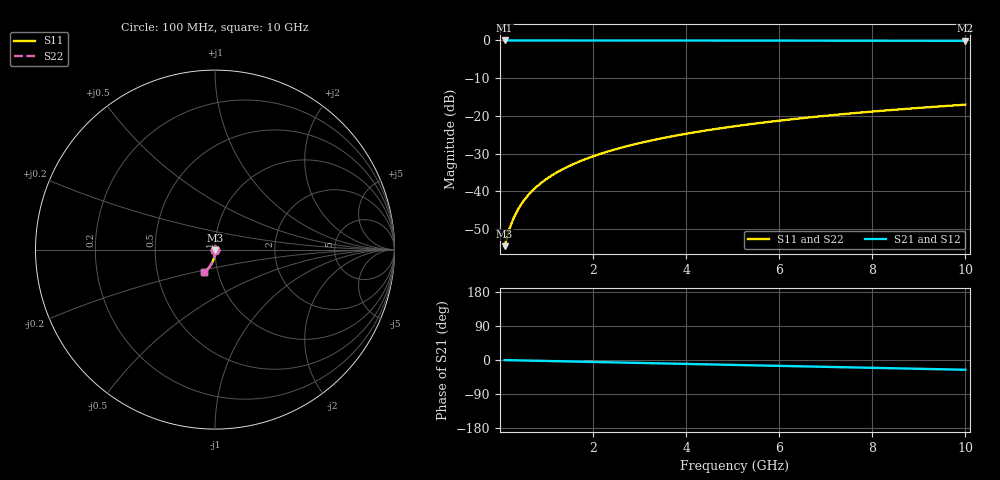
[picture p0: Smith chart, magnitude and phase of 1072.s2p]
# Hz S RI R 50.00
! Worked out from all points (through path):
!   100 points, 100 MHz to 10 GHz, reference 50 ohm
!   highest |S21| = -0.01 dB at 100 MHz (marker M1); lowest = -0.1 dB at 10 GHz (marker M2)
!   group delay of S21, straight-line fit = 7.16 ps
!   lowest |S11| = -54.5 dB at 100 MHz (marker M3), VSWR 1.00, Z = 50.1 - j0.147 ohm
!   |S11| at or under -10 dB: start of sweep to end of sweep
!   |S22| runs from -54.5 to -17.0 dB; largest |S21 - S12| = 0
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1e8  0.00119 -0.00146  0.9988 -0.0045  0.9988 -0.0045  0.00119 -0.00146
2e8  0.00117 -0.00293  0.9987 -0.009  0.9987 -0.009  0.00117 -0.00293
3e8  0.00114 -0.00439  0.9987 -0.0135  0.9987 -0.0135  0.00114 -0.00439
4e8  0.0011 -0.00585  0.9986 -0.018  0.9986 -0.018  0.0011 -0.00585
5e8  0.00104 -0.00731  0.9985 -0.0225  0.9985 -0.0225  0.00104 -0.00731
6e8  0.000969 -0.00878  0.9984 -0.027  0.9984 -0.027  0.000969 -0.00878
7e8  0.000884 -0.0102  0.9982 -0.0315  0.9982 -0.0315  0.000884 -0.0102
8e8  0.000785 -0.0117  0.998 -0.036  0.998 -0.036  0.000785 -0.0117
9e8  0.000673 -0.0132  0.9978 -0.0405  0.9978 -0.0405  0.000673 -0.0132
1.1e9  0.00041 -0.0161  0.9974 -0.0495  0.9974 -0.0495  0.00041 -0.0161
1.4e9  -8.4e-05 -0.0204  0.9965 -0.0629  0.9965 -0.0629  -8.4e-05 -0.0204
1.8e9  -0.000927 -0.0262  0.9951 -0.0809  0.9951 -0.0809  -0.000927 -0.0262
2.1e9  -0.0017 -0.0306  0.9937 -0.0943  0.9937 -0.0943  -0.0017 -0.0306
2.5e9  -0.0029 -0.0363  0.9917 -0.1122  0.9917 -0.1122  -0.0029 -0.0363
2.9e9  -0.00432 -0.042  0.9892 -0.13  0.9892 -0.13  -0.00432 -0.042
3.4e9  -0.00637 -0.049  0.9857 -0.1522  0.9857 -0.1522  -0.00637 -0.049
4.2e9  -0.0103 -0.06  0.9789 -0.1875  0.9789 -0.1875  -0.0103 -0.06
5.1e9  -0.0157 -0.0721  0.9696 -0.2268  0.9696 -0.2268  -0.0157 -0.0721
5.9e9  -0.0212 -0.0824  0.9599 -0.2613  0.9599 -0.2613  -0.0212 -0.0824
6.7e9  -0.0275 -0.0923  0.9489 -0.2953  0.9489 -0.2953  -0.0275 -0.0923
8.4e9  -0.0431 -0.1116  0.9212 -0.3658  0.9212 -0.3658  -0.0431 -0.1116
1e10  -0.0602 -0.1274  0.8901 -0.4295  0.8901 -0.4295  -0.0602 -0.1274
